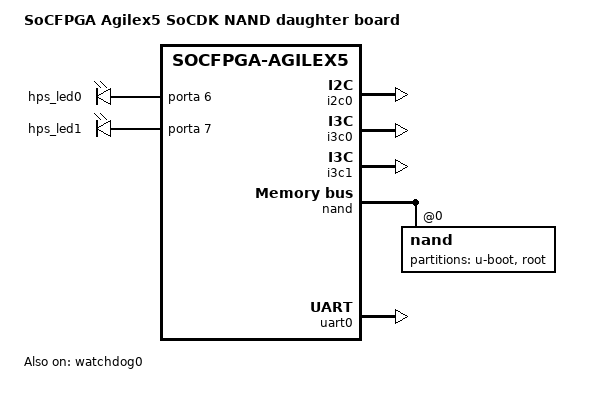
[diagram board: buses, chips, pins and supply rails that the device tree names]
// SPDX-License-Identifier:     GPL-2.0
/*
 * Copyright (C) 2025, Altera Corporation
 */
#include "socfpga_agilex5.dtsi"

/ {
	model = "SoCFPGA Agilex5 SoCDK NAND daughter board";
	compatible = "intel,socfpga-agilex5-socdk-nand", "intel,socfpga-agilex5";

	aliases {
		serial0 = &uart0;
	};

	chosen {
		stdout-path = "serial0:115200n8";
	};

	leds {
		compatible = "gpio-leds";
		led0 {
			label = "hps_led0";
			gpios = <&porta 6 GPIO_ACTIVE_HIGH>;
		};

		led1 {
			label = "hps_led1";
			gpios = <&porta 7 GPIO_ACTIVE_HIGH>;
		};
	};

	memory@80000000 {
		device_type = "memory";
		/* We expect the bootloader to fill in the reg */
		reg = <0x0 0x80000000 0x0 0x0>;
	};
};

&gpio0 {
	status = "okay";
};

&gpio1 {
	status = "okay";
};

&i2c0 {
	status = "okay";
};

&i3c0 {
	status = "okay";
};

&i3c1 {
	status = "okay";
};

&nand {
	status = "okay";

	nand@0 {
		#address-cells = <1>;
		#size-cells = <1>;
		reg = <0>;
		nand-bus-width = <8>;

		partition@0 {
			label = "u-boot";
			reg = <0 0x200000>;
		};
		partition@200000 {
			label = "root";
			reg = <0x200000 0xffe00000>;
		};
	};
};

&osc1 {
	clock-frequency = <25000000>;
};

&uart0 {
	status = "okay";
};

&watchdog0 {
	status = "okay";
};
